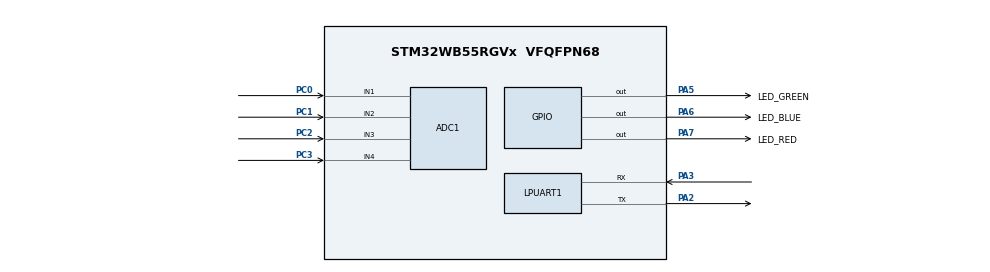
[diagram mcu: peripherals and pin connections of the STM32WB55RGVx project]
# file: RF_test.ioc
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ADC1.Channel-0\#ChannelRegularConversion=ADC_CHANNEL_1
ADC1.Channel-1\#ChannelRegularConversion=ADC_CHANNEL_1
ADC1.Channel-2\#ChannelRegularConversion=ADC_CHANNEL_1
ADC1.Channel-3\#ChannelRegularConversion=ADC_CHANNEL_1
ADC1.ContinuousConvMode=ENABLE
ADC1.NbrOfConversion=4
ADC1.NbrOfConversionFlag=1
ADC1.OffsetNumber-0\#ChannelRegularConversion=ADC_OFFSET_NONE
ADC1.OffsetNumber-1\#ChannelRegularConversion=ADC_OFFSET_NONE
ADC1.OffsetNumber-2\#ChannelRegularConversion=ADC_OFFSET_NONE
ADC1.OffsetNumber-3\#ChannelRegularConversion=ADC_OFFSET_NONE
ADC1.Rank-0\#ChannelRegularConversion=1
ADC1.Rank-1\#ChannelRegularConversion=2
ADC1.Rank-2\#ChannelRegularConversion=3
ADC1.Rank-3\#ChannelRegularConversion=4
ADC1.SamplingTime-0\#ChannelRegularConversion=ADC_SAMPLETIME_47CYCLES_5
ADC1.SamplingTime-1\#ChannelRegularConversion=ADC_SAMPLETIME_47CYCLES_5
ADC1.SamplingTime-2\#ChannelRegularConversion=ADC_SAMPLETIME_47CYCLES_5
ADC1.SamplingTime-3\#ChannelRegularConversion=ADC_SAMPLETIME_47CYCLES_5
ADC1.master=1
Dma.ADC1.0.Direction=DMA_PERIPH_TO_MEMORY
Dma.ADC1.0.EventEnable=DISABLE
Dma.ADC1.0.Instance=DMA1_Channel1
Dma.ADC1.0.MemDataAlignment=DMA_MDATAALIGN_HALFWORD
Dma.ADC1.0.MemInc=DMA_MINC_ENABLE
Dma.ADC1.0.Mode=DMA_NORMAL
Dma.ADC1.0.PeriphDataAlignment=DMA_PDATAALIGN_HALFWORD
Dma.ADC1.0.PeriphInc=DMA_PINC_DISABLE
Dma.ADC1.0.Polarity=HAL_DMAMUX_REQ_GEN_RISING
Dma.ADC1.0.Priority=DMA_PRIORITY_HIGH
Dma.ADC1.0.RequestNumber=1
Dma.ADC1.0.SignalID=NONE
Dma.ADC1.0.SyncEnable=DISABLE
Dma.ADC1.0.SyncPolarity=HAL_DMAMUX_SYNC_NO_EVENT
Dma.ADC1.0.SyncRequestNumber=1
Dma.ADC1.0.SyncSignalID=NONE
Dma.Request0=ADC1
LPUART1.SwapParam=UART_ADVFEATURE_SWAP_DISABLE
Mcu.Family=STM32WB
Mcu.Name=STM32WB55RGVx
Mcu.Package=VFQFPN68
NVIC.DMA1_Channel1_IRQn=true\:0\:0\:false\:false\:true\:false\:true\:true
NVIC.EXTI0_IRQn=true\:0\:0\:false\:false\:true\:false\:true\:true
NVIC.EXTI1_IRQn=true\:0\:0\:false\:false\:true\:false\:true\:true
NVIC.EXTI4_IRQn=true\:0\:0\:false\:false\:true\:false\:true\:true
NVIC.PriorityGroup=NVIC_PRIORITYGROUP_4
OSC_IN.GPIO_Label=RCC_OSC_IN
OSC_IN.Signal=RCC_OSC_IN
OSC_OUT.GPIO_Label=RCC_OSC_OUT
OSC_OUT.Signal=RCC_OSC_OUT
P-NUCLEO-WB55-NUCLEO.BUTTON=1
P-NUCLEO-WB55-NUCLEO.BUTTON2=1
P-NUCLEO-WB55-NUCLEO.BUTTON3=1
P-NUCLEO-WB55-NUCLEO.LD1=true
P-NUCLEO-WB55-NUCLEO.LD2=true
P-NUCLEO-WB55-NUCLEO.LD3=true
P-NUCLEO-WB55-NUCLEO.VCP=true
PA11.GPIO_Label=USB_DM
PA11.Signal=USB_DM
PA12.GPIO_Label=USB_DP
PA12.Signal=USB_DP
PA13.GPIO_Label=JTMS
PA13.Signal=SYS_JTMS-SWDIO
PA14.GPIO_Label=JTCK
PA14.Signal=SYS_JTCK-SWCLK
PA2.Mode=Asynchronous
PA2.Signal=LPUART1_TX
PA3.Mode=Asynchronous
PA3.Signal=LPUART1_RX
PA5.GPIO_Label=LED_GREEN
PA5.Signal=GPIO_Output
PA6.GPIO_Label=LED_BLUE
PA6.Signal=GPIO_Output
PA7.GPIO_Label=LED_RED
PA7.Signal=GPIO_Output
PB3.GPIO_Label=JTDO
PB3.Signal=SYS_JTDO-SWO
PB6.Signal=USART1_TX
PB7.Signal=USART1_RX
PC0.Signal=ADCx_IN1
PC1.Signal=ADCx_IN2
PC13.GPIO_Label=SYS_WKUP2
PC13.Signal=SYS_WKUP2
PC14-OSC32_IN.GPIO_Label=RCC_OSC32_IN
PC14-OSC32_IN.Signal=RCC_OSC32_IN
PC15-OSC32_OUT.GPIO_Label=RCC_OSC32_OUT
PC15-OSC32_OUT.Signal=RCC_OSC32_OUT
PC2.Signal=ADCx_IN3
PC3.Signal=ADCx_IN4
ProjectManager.HeapSize=0x200
ProjectManager.StackSize=0x400
ProjectManager.TargetToolchain=STM32CubeIDE
RCC.ADCFreq_Value=48000000
RCC.AHB2CLKDivider=RCC_SYSCLK_DIV2
RCC.AHBFreq_Value=4000000
RCC.APB1Freq_Value=4000000
RCC.APB1TimFreq_Value=4000000
RCC.APB2Freq_Value=4000000
RCC.APB2TimFreq_Value=4000000
RCC.APB3Freq_Value=16000000
RCC.Cortex2_Div=SYSTICK_CLKSOURCE_HCLK_DIV8
RCC.CortexFreq_Value=4000000
RCC.HCLKFreq_Value=4000000
RCC.HSE_VALUE=32000000
RCC.HSI48_VALUE=48000000
RCC.HSI_VALUE=16000000
RCC.LSE_VALUE=32768
RCC.PLLSAI1N=24
RCC.SMPSCLockSelection=RCC_SMPSCLKSOURCE_HSI
RCC.SMPSCLockSelectionVirtual=RCC_SMPSCLKSOURCE_HSI
RCC.SMPSCLockSelectionVirtualVirtual=RCC_SMPSCLKSOURCE_HSI
RCC.SMPSDivider=1
RCC.SYSCLKFreq_VALUE=4000000
RCC.USBFreq_Value=48000000
RCC.VCOOutputFreq_Value=32000000
SH.ADCx_IN1.0=ADC1_IN1,IN1-Single-Ended
SH.ADCx_IN2.0=ADC1_IN2,IN2-Single-Ended
SH.ADCx_IN3.0=ADC1_IN3,IN3-Single-Ended
SH.ADCx_IN4.0=ADC1_IN4,IN4-Single-Ended
VP_MEMORYMAP_VS_MEMORYMAP.Mode=CurAppReg
VP_P-NUCLEO-WB55-NUCLEO_VS_BSP_COMMON.Mode=COMMON
board=P-NUCLEO-WB55-NUCLEO

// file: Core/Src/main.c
/* USER CODE BEGIN Header */
/**
  ******************************************************************************
  * @file           : main.c
  * @brief          : Main program body
  ******************************************************************************
  */
/* USER CODE END Header */
#include "main.h"

/* USER CODE BEGIN Includes */
#include "arm_math.h"
#include "arm_const_structs.h"

#include "stm32wbxx_hal.h"
#include "arm_math.h"
#include "stdio.h"
#include "string.h"

/* USER CODE END Includes */

COM_InitTypeDef BspCOMInit;
ADC_HandleTypeDef hadc1;
DMA_HandleTypeDef hdma_adc1;

UART_HandleTypeDef hlpuart1;

/* USER CODE BEGIN PV */
#define FFT_SIZE 1024              // FFT Size
#define NUM_CHANNELS 2             // Number of ADC channels (I and Q)
#define ADC_BUF_LEN (FFT_SIZE * NUM_CHANNELS) // Total ADC buffer size

uint16_t adc_buffer[ADC_BUF_LEN];  // ADC buffer
float32_t fft_input_I[FFT_SIZE];   // FFT input for I channel
float32_t fft_input_Q[FFT_SIZE];   // FFT input for Q channel
float32_t fft_output_I[FFT_SIZE];  // FFT output for I channel
float32_t fft_output_Q[FFT_SIZE];  // FFT output for Q channel

volatile uint8_t adc_conversion_complete = 0; // ADC conversion flag

float32_t SamplingRate = 20000.0f;  // Sampling rate (Hz)
float32_t Wavelength = 0.0125f;     // Radar wavelength (m)
/* USER CODE END PV */

void SystemClock_Config(void);
void PeriphCommonClock_Config(void);
static void MX_GPIO_Init(void);
static void MX_DMA_Init(void);
static void MX_ADC1_Init(void);
static void MX_LPUART1_UART_Init(void);
/* USER CODE BEGIN PFP */
void LogSpeed(float32_t speed);
/* USER CODE END PFP */

int main(void)
{

  /* MCU Configuration--------------------------------------------------------*/

  /* Reset of all peripherals, Initializes the Flash interface and the Systick. */
  HAL_Init();

  /* Configure the system clock */
  SystemClock_Config();

  /* Configure the peripherals common clocks */
  PeriphCommonClock_Config();

  /* Initialize all configured peripherals */
  MX_GPIO_Init();
  MX_DMA_Init();
  MX_ADC1_Init();
  MX_LPUART1_UART_Init();

  /* Initialize leds */
  BSP_LED_Init(LED_BLUE);
  BSP_LED_Init(LED_GREEN);
  BSP_LED_Init(LED_RED);

  /* Initialize USER push-button, will be used to trigger an interrupt each time it's pressed.*/
  BSP_PB_Init(BUTTON_SW1, BUTTON_MODE_EXTI);
  BSP_PB_Init(BUTTON_SW2, BUTTON_MODE_EXTI);
  BSP_PB_Init(BUTTON_SW3, BUTTON_MODE_EXTI);

  /* Initialize COM1 port (115200, 8 bits (7-bit data + 1 stop bit), no parity */
  BspCOMInit.BaudRate   = 115200;
  BspCOMInit.WordLength = COM_WORDLENGTH_8B;
  BspCOMInit.StopBits   = COM_STOPBITS_1;
  BspCOMInit.Parity     = COM_PARITY_NONE;
  BspCOMInit.HwFlowCtl  = COM_HWCONTROL_NONE;
  if (BSP_COM_Init(COM1, &BspCOMInit) != BSP_ERROR_NONE)
  {
    Error_Handler();
  }

  /* Infinite loop */
  /* USER CODE BEGIN WHILE */
  /* Infinite loop */
  while (1) {
      if (adc_conversion_complete) {
          adc_conversion_complete = 0;

          /* Process ADC data */
          for (int i = 0; i < FFT_SIZE; i++) {
              fft_input_I[i] = ((float32_t)adc_buffer[i * NUM_CHANNELS]) * (3.3f / 4095.0f); // Normalize I channel
              fft_input_Q[i] = ((float32_t)adc_buffer[i * NUM_CHANNELS + 1]) * (3.3f / 4095.0f); // Normalize Q channel
          }

          /* Initialize FFT instance */
          arm_rfft_fast_instance_f32 fft_instance;
          arm_rfft_fast_init_f32(&fft_instance, FFT_SIZE);

          /* Perform FFT */
          arm_rfft_fast_f32(&fft_instance, fft_input_I, fft_output_I, 0);
          arm_rfft_fast_f32(&fft_instance, fft_input_Q, fft_output_Q, 0);

          /* Calculate magnitudes */
          float32_t fft_magnitude[FFT_SIZE / 2];
          for (int i = 0; i < FFT_SIZE / 2; i++) {
              float32_t real = fft_output_I[2 * i];
              float32_t imag = fft_output_Q[2 * i];
              fft_magnitude[i] = sqrtf(real * real + imag * imag);
          }

          /* Find peak frequency */
          uint32_t maxIndex = 0;
          float32_t maxValue = 0;
          arm_max_f32(fft_magnitude, FFT_SIZE / 2, &maxValue, &maxIndex);

          /* Calculate frequency and speed */
          float32_t frequency = ((float32_t)maxIndex * SamplingRate) / FFT_SIZE;
          float32_t speed_mps = (frequency * Wavelength) / 2.0f; // Doppler effect
          float32_t speed_mph = speed_mps * 2.23694f; // Convert to mph

          /* Log speed */
          LogSpeed(speed_mph);

          /* Restart ADC DMA */
          HAL_ADC_Start_DMA(&hadc1, (uint32_t *)adc_buffer, ADC_BUF_LEN);
      }

      /* Blink LED to indicate system is running */
      HAL_GPIO_TogglePin(LED_GREEN_GPIO_Port, LED_GREEN_Pin);
      HAL_Delay(500);
  }

  /* USER CODE END 3 */
}

void SystemClock_Config(void)
{
  RCC_OscInitTypeDef RCC_OscInitStruct = {0};
  RCC_ClkInitTypeDef RCC_ClkInitStruct = {0};

  /** Macro to configure the PLL multiplication factor
  */
  __HAL_RCC_PLL_PLLM_CONFIG(RCC_PLLM_DIV1);

  /** Macro to configure the PLL clock source
  */
  __HAL_RCC_PLL_PLLSOURCE_CONFIG(RCC_PLLSOURCE_MSI);

  /** Configure the main internal regulator output voltage
  */
  __HAL_PWR_VOLTAGESCALING_CONFIG(PWR_REGULATOR_VOLTAGE_SCALE1);

  /** Initializes the RCC Oscillators according to the specified parameters
  * in the RCC_OscInitTypeDef structure.
  */
  RCC_OscInitStruct.OscillatorType = RCC_OSCILLATORTYPE_HSI|RCC_OSCILLATORTYPE_MSI;
  RCC_OscInitStruct.HSIState = RCC_HSI_ON;
  RCC_OscInitStruct.MSIState = RCC_MSI_ON;
  RCC_OscInitStruct.HSICalibrationValue = RCC_HSICALIBRATION_DEFAULT;
  RCC_OscInitStruct.MSICalibrationValue = RCC_MSICALIBRATION_DEFAULT;
  RCC_OscInitStruct.MSIClockRange = RCC_MSIRANGE_6;
  RCC_OscInitStruct.PLL.PLLState = RCC_PLL_NONE;
  if (HAL_RCC_OscConfig(&RCC_OscInitStruct) != HAL_OK)
  {
    Error_Handler();
  }

  /** Configure the SYSCLKSource, HCLK, PCLK1 and PCLK2 clocks dividers
  */
  RCC_ClkInitStruct.ClockType = RCC_CLOCKTYPE_HCLK4|RCC_CLOCKTYPE_HCLK2
                              |RCC_CLOCKTYPE_HCLK|RCC_CLOCKTYPE_SYSCLK
                              |RCC_CLOCKTYPE_PCLK1|RCC_CLOCKTYPE_PCLK2;
  RCC_ClkInitStruct.SYSCLKSource = RCC_SYSCLKSOURCE_MSI;
  RCC_ClkInitStruct.AHBCLKDivider = RCC_SYSCLK_DIV1;
  RCC_ClkInitStruct.APB1CLKDivider = RCC_HCLK_DIV1;
  RCC_ClkInitStruct.APB2CLKDivider = RCC_HCLK_DIV1;
  RCC_ClkInitStruct.AHBCLK2Divider = RCC_SYSCLK_DIV2;
  RCC_ClkInitStruct.AHBCLK4Divider = RCC_SYSCLK_DIV1;

  if (HAL_RCC_ClockConfig(&RCC_ClkInitStruct, FLASH_LATENCY_0) != HAL_OK)
  {
    Error_Handler();
  }
}

void PeriphCommonClock_Config(void)
{
  RCC_PeriphCLKInitTypeDef PeriphClkInitStruct = {0};

  /** Initializes the peripherals clock
  */
  PeriphClkInitStruct.PeriphClockSelection = RCC_PERIPHCLK_SMPS;
  PeriphClkInitStruct.SmpsClockSelection = RCC_SMPSCLKSOURCE_HSI;
  PeriphClkInitStruct.SmpsDivSelection = RCC_SMPSCLKDIV_RANGE0;

  if (HAL_RCCEx_PeriphCLKConfig(&PeriphClkInitStruct) != HAL_OK)
  {
    Error_Handler();
  }
}

static void MX_ADC1_Init(void)
{

  ADC_ChannelConfTypeDef sConfig = {0};

  /** Common config
  */
  hadc1.Instance = ADC1;
  hadc1.Init.ClockPrescaler = ADC_CLOCK_ASYNC_DIV1;
  hadc1.Init.Resolution = ADC_RESOLUTION_12B;
  hadc1.Init.DataAlign = ADC_DATAALIGN_RIGHT;
  hadc1.Init.ScanConvMode = ADC_SCAN_ENABLE;
  hadc1.Init.EOCSelection = ADC_EOC_SINGLE_CONV;
  hadc1.Init.LowPowerAutoWait = DISABLE;
  hadc1.Init.ContinuousConvMode = ENABLE;
  hadc1.Init.NbrOfConversion = 4;
  hadc1.Init.DiscontinuousConvMode = DISABLE;
  hadc1.Init.ExternalTrigConv = ADC_SOFTWARE_START;
  hadc1.Init.ExternalTrigConvEdge = ADC_EXTERNALTRIGCONVEDGE_NONE;
  hadc1.Init.DMAContinuousRequests = DISABLE;
  hadc1.Init.Overrun = ADC_OVR_DATA_PRESERVED;
  hadc1.Init.OversamplingMode = DISABLE;
  if (HAL_ADC_Init(&hadc1) != HAL_OK)
  {
    Error_Handler();
  }

  /** Configure Regular Channel
  */
  sConfig.Channel = ADC_CHANNEL_1;
  sConfig.Rank = ADC_REGULAR_RANK_1;
  sConfig.SamplingTime = ADC_SAMPLETIME_47CYCLES_5;
  sConfig.SingleDiff = ADC_SINGLE_ENDED;
  sConfig.OffsetNumber = ADC_OFFSET_NONE;
  sConfig.Offset = 0;
  if (HAL_ADC_ConfigChannel(&hadc1, &sConfig) != HAL_OK)
  {
    Error_Handler();
  }

  /** Configure Regular Channel
  */
  sConfig.Rank = ADC_REGULAR_RANK_2;
  if (HAL_ADC_ConfigChannel(&hadc1, &sConfig) != HAL_OK)
  {
    Error_Handler();
  }

  /** Configure Regular Channel
  */
  sConfig.Rank = ADC_REGULAR_RANK_3;
  if (HAL_ADC_ConfigChannel(&hadc1, &sConfig) != HAL_OK)
  {
    Error_Handler();
  }

  /** Configure Regular Channel
  */
  sConfig.Rank = ADC_REGULAR_RANK_4;
  if (HAL_ADC_ConfigChannel(&hadc1, &sConfig) != HAL_OK)
  {
    Error_Handler();
  }

}

static void MX_LPUART1_UART_Init(void)
{

  hlpuart1.Instance = LPUART1;
  hlpuart1.Init.BaudRate = 209700;
  hlpuart1.Init.WordLength = UART_WORDLENGTH_8B;
  hlpuart1.Init.StopBits = UART_STOPBITS_1;
  hlpuart1.Init.Parity = UART_PARITY_NONE;
  hlpuart1.Init.Mode = UART_MODE_TX_RX;
  hlpuart1.Init.HwFlowCtl = UART_HWCONTROL_NONE;
  hlpuart1.Init.OneBitSampling = UART_ONE_BIT_SAMPLE_DISABLE;
  hlpuart1.Init.ClockPrescaler = UART_PRESCALER_DIV1;
  hlpuart1.AdvancedInit.AdvFeatureInit = UART_ADVFEATURE_NO_INIT;
  hlpuart1.FifoMode = UART_FIFOMODE_DISABLE;
  if (HAL_UART_Init(&hlpuart1) != HAL_OK)
  {
    Error_Handler();
  }
  if (HAL_UARTEx_SetTxFifoThreshold(&hlpuart1, UART_TXFIFO_THRESHOLD_1_8) != HAL_OK)
  {
    Error_Handler();
  }
  if (HAL_UARTEx_SetRxFifoThreshold(&hlpuart1, UART_RXFIFO_THRESHOLD_1_8) != HAL_OK)
  {
    Error_Handler();
  }
  if (HAL_UARTEx_DisableFifoMode(&hlpuart1) != HAL_OK)
  {
    Error_Handler();
  }

}

static void MX_DMA_Init(void)
{

  /* DMA controller clock enable */
  __HAL_RCC_DMAMUX1_CLK_ENABLE();
  __HAL_RCC_DMA1_CLK_ENABLE();

  /* DMA interrupt init */
  /* DMA1_Channel1_IRQn interrupt configuration */
  HAL_NVIC_SetPriority(DMA1_Channel1_IRQn, 0, 0);
  HAL_NVIC_EnableIRQ(DMA1_Channel1_IRQn);

}

static void MX_GPIO_Init(void)
{
  GPIO_InitTypeDef GPIO_InitStruct = {0};

  /* GPIO Ports Clock Enable */
  __HAL_RCC_GPIOC_CLK_ENABLE();
  __HAL_RCC_GPIOA_CLK_ENABLE();
  __HAL_RCC_GPIOB_CLK_ENABLE();

  /*Configure GPIO pin Output Level */
  HAL_GPIO_WritePin(GPIOA, LED_GREEN_Pin|LED_BLUE_Pin|LED_RED_Pin, GPIO_PIN_RESET);

  /*Configure GPIO pins : LED_GREEN_Pin LED_BLUE_Pin LED_RED_Pin */
  GPIO_InitStruct.Pin = LED_GREEN_Pin|LED_BLUE_Pin|LED_RED_Pin;
  GPIO_InitStruct.Mode = GPIO_MODE_OUTPUT_PP;
  GPIO_InitStruct.Pull = GPIO_NOPULL;
  GPIO_InitStruct.Speed = GPIO_SPEED_FREQ_LOW;
  HAL_GPIO_Init(GPIOA, &GPIO_InitStruct);

  /*Configure GPIO pins : USB_DM_Pin USB_DP_Pin */
  GPIO_InitStruct.Pin = USB_DM_Pin|USB_DP_Pin;
  GPIO_InitStruct.Mode = GPIO_MODE_AF_PP;
  GPIO_InitStruct.Pull = GPIO_NOPULL;
  GPIO_InitStruct.Speed = GPIO_SPEED_FREQ_LOW;
  GPIO_InitStruct.Alternate = GPIO_AF10_USB;
  HAL_GPIO_Init(GPIOA, &GPIO_InitStruct);

}

/* USER CODE BEGIN 4 */
/* Callback for ADC Conversion Complete */
void HAL_ADC_ConvCpltCallback(ADC_HandleTypeDef *hadc) {
    if (hadc->Instance == ADC1) {
        adc_conversion_complete = 1;
    }
}

/* Log Speed */
void LogSpeed(float32_t speed) {
    uint32_t timestamp = HAL_GetTick();
    printf("Time: %lu ms, Speed: %.2f mph\r\n", timestamp, speed);
}
/* USER CODE END 4 */

void Error_Handler(void)
{
  __disable_irq();
  while (1)
  {
  }
}
